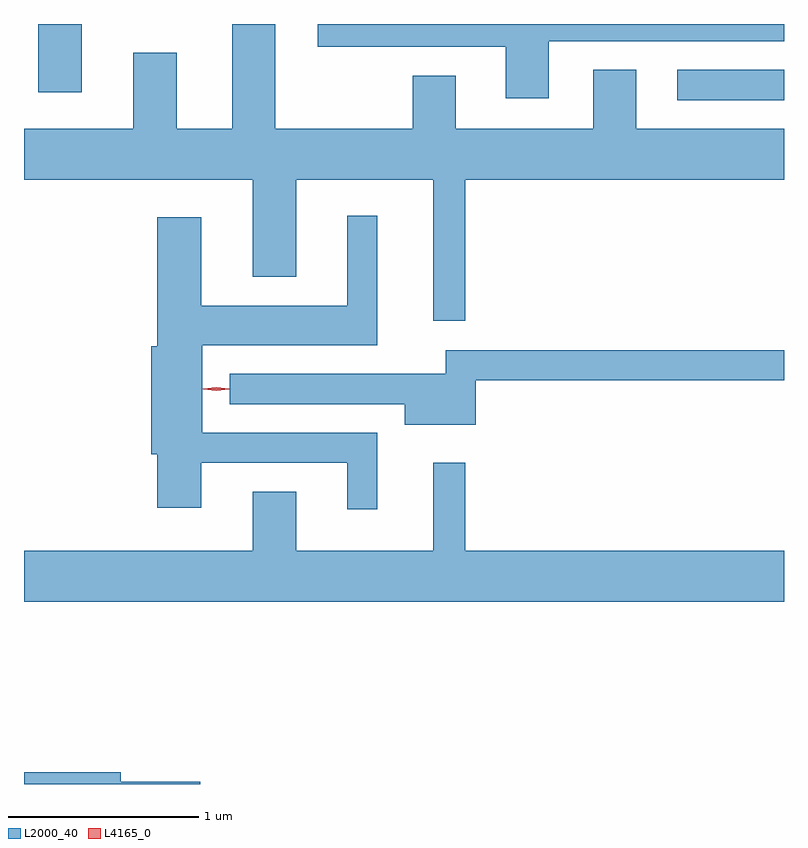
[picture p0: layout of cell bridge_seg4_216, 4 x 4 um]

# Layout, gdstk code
import gdstk
lib = gdstk.Library(unit=1e-6, precision=1e-09)
def R(c, l, rs):  # rectangles x0, y0, x1, y1
    for r in rs: c.add(gdstk.rectangle(r[:2], r[2:], *l))
def P(c, l, *ps):  # polygons
    for p in ps: c.add(gdstk.Polygon(p, *l))
L2000_40 = (2000, 40)
L4165_0 = (4165, 0)

bridge_seg4_216 = lib.new_cell('bridge_seg4_216')
R(bridge_seg4_216, L2000_40, [(1066.443,1261.856,1067.006,1262.014), (1063.081,1261.896,1063.309,1262.256)])
P(bridge_seg4_216, L2000_40, [(1065.329,1261.436),(1067.006,1261.436),(1067.006,1261.704),(1066.229,1261.704),(1066.229,1262.014),(1066.001,1262.014),(1066.001,1261.704),(1065.279,1261.704),(1065.279,1261.984),(1065.051,1261.984),(1065.051,1261.704),(1064.329,1261.704),(1064.329,1262.256),(1064.101,1262.256),(1064.101,1261.704),(1063.809,1261.704),(1063.809,1262.104),(1063.581,1262.104),(1063.581,1261.704),(1063.006,1261.704),(1063.006,1261.436),(1064.211,1261.436),(1064.211,1260.926),(1064.439,1260.926),(1064.439,1261.436),(1065.161,1261.436),(1065.161,1260.693),(1065.329,1260.693)],
  [(1065.769,1262.166),(1067.006,1262.166),(1067.006,1262.256),(1064.553,1262.256),(1064.553,1262.136),(1065.541,1262.136),(1065.541,1261.866),(1065.769,1261.866)],
  [(1064.864,1260.104),(1063.944,1260.104),(1063.944,1260.566),(1064.864,1260.566),(1064.864,1261.248),(1064.706,1261.248),(1064.706,1260.774),(1063.939,1260.774),(1063.939,1261.239),(1063.706,1261.239),(1063.706,1260.559),(1063.676,1260.559),(1063.676,1259.991),(1063.706,1259.991),(1063.706,1259.711),(1063.939,1259.711),(1063.939,1259.946),(1064.706,1259.946),(1064.706,1259.703),(1064.864,1259.703)],
  [(1065.384,1260.381),(1067.006,1260.381),(1067.006,1260.539),(1065.226,1260.539),(1065.226,1260.414),(1064.088,1260.414),(1064.088,1260.256),(1065.011,1260.256),(1065.011,1260.146),(1065.384,1260.146)],
  [(1067.006,1259.484),(1065.329,1259.484),(1065.329,1259.948),(1065.161,1259.948),(1065.161,1259.484),(1064.439,1259.484),(1064.439,1259.794),(1064.211,1259.794),(1064.211,1259.484),(1063.006,1259.484),(1063.006,1259.216),(1067.006,1259.216)],
  [(1063.934,1258.269),(1063.514,1258.269),(1063.514,1258.319),(1063.006,1258.319),(1063.006,1258.256),(1063.934,1258.256)])
P(bridge_seg4_216, L4165_0, [(1064.018,1260.325),(1063.953,1260.334),(1063.953,1260.335),(1063.953,1260.336),(1064.018,1260.345),(1064.082,1260.336),(1064.083,1260.335),(1064.082,1260.334)],
  [(1064.017,1260.325),(1063.949,1260.334),(1063.948,1260.335),(1063.949,1260.336),(1064.017,1260.345),(1064.086,1260.336),(1064.086,1260.335),(1064.086,1260.334)])

lib.write_gds('bridge_seg4_216.gds')
